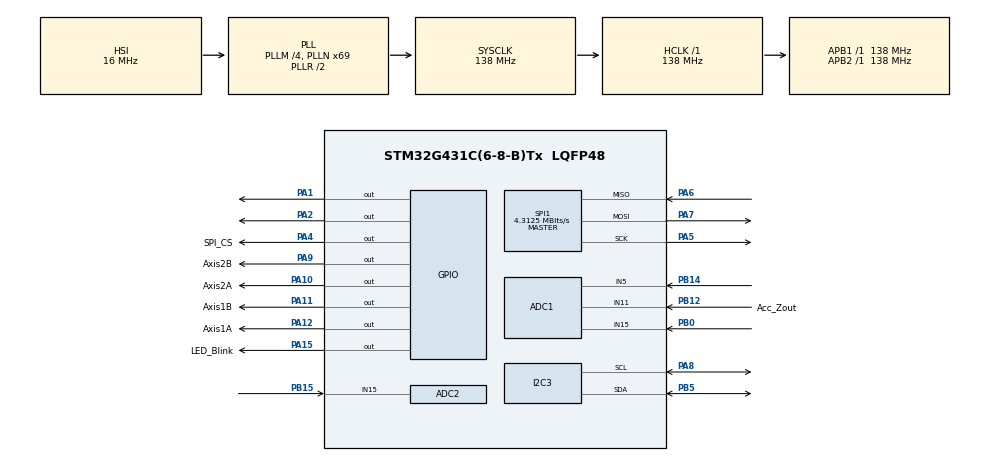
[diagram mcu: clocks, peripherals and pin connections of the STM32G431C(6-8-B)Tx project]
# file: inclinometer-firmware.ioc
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ADC1.Channel-0\#ChannelRegularConversion=ADC_CHANNEL_5
ADC1.Channel-1\#ChannelRegularConversion=ADC_CHANNEL_11
ADC1.ClockPrescaler=ADC_CLOCK_ASYNC_DIV4
ADC1.ContinuousConvMode=ENABLE
ADC1.DMAContinuousRequests=ENABLE
ADC1.EOCSelection=ADC_EOC_SEQ_CONV
ADC1.NbrOfConversion=2
ADC1.NbrOfConversionFlag=1
ADC1.OffsetNumber-0\#ChannelRegularConversion=ADC_OFFSET_NONE
ADC1.OffsetNumber-1\#ChannelRegularConversion=ADC_OFFSET_NONE
ADC1.OversamplingMode=ENABLE
ADC1.OversamplingStopReset=ADC_REGOVERSAMPLING_RESUMED_MODE
ADC1.Rank-0\#ChannelRegularConversion=1
ADC1.Rank-1\#ChannelRegularConversion=2
ADC1.Ratio=ADC_OVERSAMPLING_RATIO_256
ADC1.RightBitShift=ADC_RIGHTBITSHIFT_4
ADC1.SamplingTime-0\#ChannelRegularConversion=ADC_SAMPLETIME_92CYCLES_5
ADC1.SamplingTime-1\#ChannelRegularConversion=ADC_SAMPLETIME_92CYCLES_5
ADC1.master=1
ADC2.Channel-1\#ChannelRegularConversion=ADC_CHANNEL_15
ADC2.ClockPrescaler=ADC_CLOCK_ASYNC_DIV4
ADC2.ContinuousConvMode=ENABLE
ADC2.DMAContinuousRequests=ENABLE
ADC2.EOCSelection=ADC_EOC_SINGLE_CONV
ADC2.NbrOfConversionFlag=1
ADC2.OffsetNumber-1\#ChannelRegularConversion=ADC_OFFSET_NONE
ADC2.OversamplingMode=ENABLE
ADC2.OversamplingStopReset=ADC_REGOVERSAMPLING_RESUMED_MODE
ADC2.Rank-1\#ChannelRegularConversion=1
ADC2.Ratio=ADC_OVERSAMPLING_RATIO_256
ADC2.RightBitShift=ADC_RIGHTBITSHIFT_4
ADC2.SamplingTime-1\#ChannelRegularConversion=ADC_SAMPLETIME_92CYCLES_5
Dma.ADC1.0.Direction=DMA_PERIPH_TO_MEMORY
Dma.ADC1.0.EventEnable=DISABLE
Dma.ADC1.0.Instance=DMA1_Channel1
Dma.ADC1.0.MemDataAlignment=DMA_MDATAALIGN_HALFWORD
Dma.ADC1.0.MemInc=DMA_MINC_ENABLE
Dma.ADC1.0.Mode=DMA_CIRCULAR
Dma.ADC1.0.PeriphDataAlignment=DMA_PDATAALIGN_HALFWORD
Dma.ADC1.0.PeriphInc=DMA_PINC_DISABLE
Dma.ADC1.0.Polarity=HAL_DMAMUX_REQ_GEN_RISING
Dma.ADC1.0.Priority=DMA_PRIORITY_MEDIUM
Dma.ADC1.0.RequestNumber=1
Dma.ADC1.0.SignalID=NONE
Dma.ADC1.0.SyncEnable=DISABLE
Dma.ADC1.0.SyncPolarity=HAL_DMAMUX_SYNC_NO_EVENT
Dma.ADC1.0.SyncRequestNumber=1
Dma.ADC1.0.SyncSignalID=NONE
Dma.ADC2.2.Direction=DMA_PERIPH_TO_MEMORY
Dma.ADC2.2.EventEnable=DISABLE
Dma.ADC2.2.Instance=DMA1_Channel3
Dma.ADC2.2.MemDataAlignment=DMA_MDATAALIGN_HALFWORD
Dma.ADC2.2.MemInc=DMA_MINC_ENABLE
Dma.ADC2.2.Mode=DMA_CIRCULAR
Dma.ADC2.2.PeriphDataAlignment=DMA_PDATAALIGN_HALFWORD
Dma.ADC2.2.PeriphInc=DMA_PINC_DISABLE
Dma.ADC2.2.Polarity=HAL_DMAMUX_REQ_GEN_RISING
Dma.ADC2.2.Priority=DMA_PRIORITY_MEDIUM
Dma.ADC2.2.RequestNumber=1
Dma.ADC2.2.SignalID=NONE
Dma.ADC2.2.SyncEnable=DISABLE
Dma.ADC2.2.SyncPolarity=HAL_DMAMUX_SYNC_NO_EVENT
Dma.ADC2.2.SyncRequestNumber=1
Dma.ADC2.2.SyncSignalID=NONE
Dma.Request0=ADC1
Dma.Request1=SPI1_RX
Dma.Request2=ADC2
Dma.SPI1_RX.1.Direction=DMA_PERIPH_TO_MEMORY
Dma.SPI1_RX.1.EventEnable=DISABLE
Dma.SPI1_RX.1.Instance=DMA1_Channel2
Dma.SPI1_RX.1.MemDataAlignment=DMA_MDATAALIGN_BYTE
Dma.SPI1_RX.1.MemInc=DMA_MINC_ENABLE
Dma.SPI1_RX.1.Mode=DMA_NORMAL
Dma.SPI1_RX.1.PeriphDataAlignment=DMA_PDATAALIGN_BYTE
Dma.SPI1_RX.1.PeriphInc=DMA_PINC_DISABLE
Dma.SPI1_RX.1.Polarity=HAL_DMAMUX_REQ_GEN_RISING
Dma.SPI1_RX.1.Priority=DMA_PRIORITY_MEDIUM
Dma.SPI1_RX.1.RequestNumber=1
Dma.SPI1_RX.1.SignalID=NONE
Dma.SPI1_RX.1.SyncEnable=DISABLE
Dma.SPI1_RX.1.SyncPolarity=HAL_DMAMUX_SYNC_NO_EVENT
Dma.SPI1_RX.1.SyncRequestNumber=1
Dma.SPI1_RX.1.SyncSignalID=NONE
I2C3.Timing=0x40916E9B
Mcu.Family=STM32G4
Mcu.Name=STM32G431C(6-8-B)Tx
Mcu.Package=LQFP48
NVIC.DMA1_Channel1_IRQn=true\:0\:0\:false\:false\:true\:false\:true\:true
NVIC.DMA1_Channel2_IRQn=true\:0\:0\:false\:false\:true\:false\:true\:true
NVIC.DMA1_Channel3_IRQn=true\:0\:0\:false\:false\:true\:false\:true\:true
NVIC.PriorityGroup=NVIC_PRIORITYGROUP_4
NVIC.TIM6_DAC_IRQn=true\:0\:0\:false\:false\:true\:true\:true\:true
NVIC.TIM7_IRQn=true\:0\:0\:false\:false\:true\:true\:true\:true
PA1.Signal=GPIO_Output
PA10.GPIO_Label=Axis2A
PA10.Signal=GPIO_Output
PA11.GPIO_Label=Axis1B
PA11.Signal=GPIO_Output
PA12.GPIO_Label=Axis1A
PA12.Signal=GPIO_Output
PA13.Mode=Serial_Wire
PA13.Signal=SYS_JTMS-SWDIO
PA14.Mode=Serial_Wire
PA14.Signal=SYS_JTCK-SWCLK
PA15.GPIO_Label=LED_Blink
PA15.Signal=GPIO_Output
PA2.Signal=GPIO_Output
PA4.GPIO_Label=SPI_CS
PA4.Signal=GPIO_Output
PA5.Mode=Full_Duplex_Master
PA5.Signal=SPI1_SCK
PA6.Mode=Full_Duplex_Master
PA6.Signal=SPI1_MISO
PA7.Mode=Full_Duplex_Master
PA7.Signal=SPI1_MOSI
PA8.Mode=I2C
PA8.Signal=I2C3_SCL
PA9.GPIO_Label=Axis2B
PA9.Signal=GPIO_Output
PB0.Mode=IN15-Single-Ended
PB0.Signal=ADC1_IN15
PB12.GPIO_Label=Acc_Zout
PB12.Mode=IN11-Single-Ended
PB12.Signal=ADC1_IN11
PB14.Mode=IN5-Single-Ended
PB14.Signal=ADC1_IN5
PB15.Mode=IN15-Single-Ended
PB15.Signal=ADC2_IN15
PB5.Mode=I2C
PB5.Signal=I2C3_SDA
ProjectManager.HeapSize=0x200
ProjectManager.StackSize=0x400
ProjectManager.TargetToolchain=STM32CubeIDE
RCC.ADC12Freq_Value=138000000
RCC.AHBFreq_Value=138000000
RCC.APB1Freq_Value=138000000
RCC.APB1TimFreq_Value=138000000
RCC.APB2Freq_Value=138000000
RCC.APB2TimFreq_Value=138000000
RCC.CortexFreq_Value=138000000
RCC.EXTERNAL_CLOCK_VALUE=12288000
RCC.HCLKFreq_Value=138000000
RCC.HSE_VALUE=8000000
RCC.HSI48_VALUE=48000000
RCC.HSI_VALUE=16000000
RCC.LSE_VALUE=32768
RCC.PLLM=RCC_PLLM_DIV4
RCC.PLLN=69
RCC.SYSCLKFreq_VALUE=138000000
RCC.SYSCLKSource=RCC_SYSCLKSOURCE_PLLCLK
RCC.USBFreq_Value=138000000
RCC.VCOOutputFreq_Value=276000000
SPI1.BaudRatePrescaler=SPI_BAUDRATEPRESCALER_32
SPI1.CalculateBaudRate=4.3125 MBits/s
SPI1.DataSize=SPI_DATASIZE_8BIT
SPI1.Direction=SPI_DIRECTION_2LINES
SPI1.Mode=SPI_MODE_MASTER
SPI1.NSSPMode=SPI_NSS_PULSE_DISABLE
SPI1.VirtualType=VM_MASTER
TIM6.PeriodNoDither=2874
TIM6.Prescaler=74
TIM7.PeriodNoDither=1999
TIM7.Prescaler=9
VP_SYS_VS_DBSignals.Mode=DisableDeadBatterySignals
VP_TIM6_VS_ClockSourceINT.Mode=Enable_Timer
VP_TIM7_VS_ClockSourceINT.Mode=Enable_Timer
board=custom

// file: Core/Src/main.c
/* USER CODE BEGIN Header */
/**
  ******************************************************************************
  * @file           : main.c
  * @brief          : Main program body — Kalman filter + quadrature output
  ******************************************************************************
  */
/* USER CODE END Header */
#include "main.h"

/* USER CODE BEGIN Includes */
#include "kalman.h"
#include "quadrature_output.h"
#include "stm32g4xx_it.h"
#include <math.h>
/* USER CODE END Includes */

/* USER CODE BEGIN PD */
#define CLOCK_SPEED 138000000.0f
/* USER CODE END PD */

ADC_HandleTypeDef hadc1;
ADC_HandleTypeDef hadc2;
DMA_HandleTypeDef hdma_adc1;
DMA_HandleTypeDef hdma_adc2;

I2C_HandleTypeDef hi2c3;

SPI_HandleTypeDef hspi1;
DMA_HandleTypeDef hdma_spi1_rx;

TIM_HandleTypeDef htim6;
TIM_HandleTypeDef htim7;

/* USER CODE BEGIN PV */
/* --- Accelerometer (ADC, DMA) --- */
static volatile uint16_t adc_buf[2] = {0};  /* [0]=Y (CH5/PB14), [1]=Z (CH11/PB12) */
static volatile uint16_t adc_x      = 0;    /* X  (CH15/PB15, ADC2) */
static volatile float    accel_x    = 0.0f;
static volatile float    accel_y    = 0.0f;
static volatile float    accel_z    = 0.0f;

/* Calibration: zero-g offset (16-bit counts) and sensitivity (counts/g)
 * Measured on hardware at 138 MHz, ADC_CLOCK_ASYNC_DIV4, 256x oversample >>4 */
#define ACCEL_X_ZERO_G  17286
#define ACCEL_X_SENS    3887.0f
#define ACCEL_Y_ZERO_G  17899
#define ACCEL_Y_SENS    3971.0f
#define ACCEL_Z_ZERO_G  17899
#define ACCEL_Z_SENS    3971.0f

/* --- Gyroscope (SPI, ICM-42688 or compatible) --- */
#define IMU_REG_PWR_MGMT_1   0x6B
#define IMU_REG_USER_CTRL    0x6A

#define IMU_REG_WHO_AM_I     0x75
#define IMU_WHO_AM_I_VAL     0xB5

#define IMU_REG_GYRO_XOUT_H  0x43

#define IMU_CS_PORT          GPIOA
#define IMU_CS_PIN           SPI_CS_Pin
#define IMU_CS_LOW()         HAL_GPIO_WritePin(IMU_CS_PORT, IMU_CS_PIN, GPIO_PIN_RESET)
#define IMU_CS_HIGH()        HAL_GPIO_WritePin(IMU_CS_PORT, IMU_CS_PIN, GPIO_PIN_SET)

static volatile uint8_t who_am_i = 0;

static volatile float   gyro_x   = 0.0f;
static volatile float   gyro_y   = 0.0f;
static volatile float   gyro_z   = 0.0f;

static uint8_t gyro_dma_buf[6];
static uint8_t gyro_addr = IMU_REG_GYRO_XOUT_H | 0x80;
static volatile bool gyro_dma_ready = false;

static volatile float log_dt_s;
static volatile float log_roll_s;
static volatile float log_pitch_s;
static volatile float log_gyro_x_s;
static volatile float log_gyro_y_s;
static volatile float log_gyro_z_s;
static volatile float log_accel_x_s;
static volatile float log_accel_y_s;
static volatile float log_accel_z_s;
static volatile int   log_axis1_a_s;
static volatile int   log_axis1_b_s;

/* --- I2C (to Arduino) --- */
#define ARDUINO_SLAVE_ADDR 0x48

typedef struct __attribute__((packed)) {
    uint8_t header;      // always 0xAA
    uint8_t counter;     // increments every packet
    int16_t pitch_x100;  // pitch in degrees * 100
    int16_t roll_x100;   // roll in degrees * 100
} imu_packet_t;

static uint8_t packet_counter = 0;

/* USER CODE END PV */

void SystemClock_Config(void);
static void MX_GPIO_Init(void);
static void MX_DMA_Init(void);
static void MX_ADC1_Init(void);
static void MX_SPI1_Init(void);
static void MX_ADC2_Init(void);
static void MX_TIM6_Init(void);
static void MX_TIM7_Init(void);
static void MX_I2C3_Init(void);
/* USER CODE BEGIN PFP */
static void     DWT_Init(void);
static float    ComputeKalmanDT(void);
static uint8_t  IMU_ReadReg(uint8_t reg);
static void     IMU_WriteReg(uint8_t reg, uint8_t data);
/* USER CODE END PFP */

/* USER CODE BEGIN 0 */

/* --- ADC conversion complete callback (called from DMA ISR) --- */
void HAL_ADC_ConvCpltCallback(ADC_HandleTypeDef *hadc)
{
    if (hadc->Instance == ADC1)
    {
        accel_y = ((float)adc_buf[0] - ACCEL_Y_ZERO_G) / ACCEL_Y_SENS;
        accel_z = ((float)adc_buf[1] - ACCEL_Z_ZERO_G) / ACCEL_Z_SENS;
    }
    else if (hadc->Instance == ADC2)
    {
        accel_x = ((float)adc_x - ACCEL_X_ZERO_G) / ACCEL_X_SENS;
    }
}

/* --- SPI gyroscope callback --- */
void HAL_SPI_RxCpltCallback(SPI_HandleTypeDef *hspi)
{
    if (hspi == &hspi1)
    {
        IMU_CS_HIGH();

        int16_t raw_x = (int16_t)((gyro_dma_buf[0] << 8) | gyro_dma_buf[1]);
        int16_t raw_y = (int16_t)((gyro_dma_buf[2] << 8) | gyro_dma_buf[3]);
        int16_t raw_z = (int16_t)((gyro_dma_buf[4] << 8) | gyro_dma_buf[5]);

        gyro_x = (float)raw_x / 131.0f * (M_PI / 180.0f);
        gyro_y = (float)raw_y / 131.0f * (M_PI / 180.0f);
        gyro_z = (float)raw_z / 131.0f * (M_PI / 180.0f);

        gyro_dma_ready = true;

        IMU_CS_LOW();
        HAL_SPI_Transmit(&hspi1, &gyro_addr, 1, HAL_MAX_DELAY);
        HAL_SPI_Receive_DMA(&hspi1, gyro_dma_buf, 6);
    }
}

/* --- SPI / IMU helpers --- */
static void IMU_WriteReg(uint8_t reg, uint8_t data)
{
    uint8_t tx[2] = { reg & 0x7F, data };
    IMU_CS_LOW();
    HAL_SPI_Transmit(&hspi1, tx, 2, HAL_MAX_DELAY);
    IMU_CS_HIGH();
}

static uint8_t IMU_ReadReg(uint8_t reg)
{
    uint8_t tx[2] = { reg | 0x80, 0x00 };
    uint8_t rx[2] = { 0x00, 0x00 };
    IMU_CS_LOW();
    HAL_SPI_TransmitReceive(&hspi1, tx, rx, 2, HAL_MAX_DELAY);
    IMU_CS_HIGH();
    return rx[1];
}

/* --- DWT cycle counter for precise dt --- */
static void DWT_Init(void)
{
    CoreDebug->DEMCR |= CoreDebug_DEMCR_TRCENA_Msk;
    DWT->CYCCNT = 0;
    DWT->CTRL  |= DWT_CTRL_CYCCNTENA_Msk;
}

static float ComputeKalmanDT(void)
{
    static uint32_t last_tick  = 0;
    static bool     initialized = false;
    uint32_t now = DWT->CYCCNT;
    if (!initialized) { last_tick = now; initialized = true; return 0.0f; }
    float dt = (float)(now - last_tick) / CLOCK_SPEED;
    last_tick = now;
    return dt;
}

/* USER CODE END 0 */

int main(void)
{

  /* MCU Configuration--------------------------------------------------------*/

  /* Reset of all peripherals, Initializes the Flash interface and the Systick. */
  HAL_Init();

  /* Configure the system clock */
  SystemClock_Config();

  /* USER CODE BEGIN SysInit */
  DWT_Init();
  /* USER CODE END SysInit */

  /* Initialize all configured peripherals */
  MX_GPIO_Init();
  MX_DMA_Init();
  MX_ADC1_Init();
  MX_SPI1_Init();
  MX_ADC2_Init();
  MX_TIM6_Init();
  MX_TIM7_Init();
  MX_I2C3_Init();
  /* USER CODE BEGIN 2 */

  /* Start timers (interrupt mode) */
  HAL_TIM_Base_Start_IT(&htim6);   /* 640  Hz — Kalman flag */
  HAL_TIM_Base_Start_IT(&htim7);   /* 6900 Hz — Quad flag   */

  /* Calibrate and start ADC DMA */
  HAL_ADCEx_Calibration_Start(&hadc1, ADC_SINGLE_ENDED);
  HAL_ADCEx_Calibration_Start(&hadc2, ADC_SINGLE_ENDED);
  HAL_ADC_Start_DMA(&hadc1, (uint32_t*)adc_buf, 2);
  HAL_ADC_Start_DMA(&hadc2, (uint32_t*)&adc_x,  1);

  /* IMU init */
  IMU_CS_HIGH();
  HAL_Delay(10);
  who_am_i = IMU_ReadReg(IMU_REG_WHO_AM_I);
  if (who_am_i == IMU_WHO_AM_I_VAL) {
      IMU_WriteReg(IMU_REG_PWR_MGMT_1, 0x01);   /* clock select: PLL */
      HAL_Delay(50);
      IMU_WriteReg(IMU_REG_USER_CTRL, 0x10);    /* disable I2C */

      IMU_CS_LOW(); // Start callback
      HAL_SPI_Transmit(&hspi1, &gyro_addr, 1, HAL_MAX_DELAY);
      HAL_SPI_Receive_DMA(&hspi1, gyro_dma_buf, 6);
  }

  /* Kalman filter structures */
  StateVector            state_vector            = StateVector_Construct();
  ErrorCovarianceMatrix  error_covariance_matrix = ErrorCovarianceMatrix_Construct();
  const ProcessNoiseMatrix     process_noise_matrix     = ProcessNoiseMatrix_Construct();
  const MeasurementNoiseMatrix measurement_noise_matrix = MeasurementNoiseMatrix_Construct();

  /* Quadrature output — 4096 CPR, 1 axis (pitch) */
  QuadratureOutput quad_pkg = QuadratureOutput_Construct(4096, 1);
  QuadratureOutput_Initialize(&quad_pkg, 0.0, 0.0);

  HAL_GPIO_TogglePin(GPIOA, LED_Blink_Pin);   /* signal init complete */

  /* USER CODE END 2 */

  /* Infinite loop */
  while (1)
  {

    /* USER CODE BEGIN 3 */

    /* ---- Kalman filter @ 640 Hz ---- */
    if (GetKalmanReady()) {
		/* Read gyroscope (already in rad/s, updated by DMA callback) */
//		GyroSample gyro_sample;
//		if (gyro_dma_ready) {
//			gyro_dma_ready = false;
//
//			gyro_sample.gx = gyro_x;
//			gyro_sample.gy = gyro_y;
//			gyro_sample.gz = gyro_z;
//		}
		GyroSample gyro_sample;
		gyro_sample.gx = gyro_x;
		gyro_sample.gy = gyro_y;
		gyro_sample.gz = gyro_z;

		/* Read accelerometer (already in g, updated by DMA callback) */
		AccelSample accel_sample;
		accel_sample.ax = accel_x;
		accel_sample.ay = accel_y;
		accel_sample.az = accel_z;

		float dt = ComputeKalmanDT();

		if (dt > 0.0f) {
			/* Run kalman filter */
			kalman_run(dt, &state_vector, &error_covariance_matrix, &gyro_sample, &accel_sample, &process_noise_matrix, &measurement_noise_matrix);

			/* Convert to deg */
			float pitch_deg = state_vector.vector[PITCH] * (180.0f / (float)M_PI);
			float roll_deg  = state_vector.vector[ROLL]  * (180.0f / (float)M_PI);

			/* Build packet */
			imu_packet_t packet;
			packet.header     = 0xAA;
			packet.counter    = packet_counter++;
			packet.pitch_x100 = (int16_t)(pitch_deg * 100.0f);
			packet.roll_x100  = (int16_t)(roll_deg  * 100.0f);

			/* Send to Arduino */
			HAL_I2C_Master_Transmit(&hi2c3, (ARDUINO_SLAVE_ADDR << 1), (uint8_t *)&packet, sizeof(packet), 10);

	      	log_dt_s = dt;

	      	log_roll_s = state_vector.vector[ROLL] * (180.0 / M_PI);
	      	log_pitch_s  = state_vector.vector[ROLL] * (180.0 / M_PI);

	      	log_gyro_x_s = gyro_sample.gx;
	      	log_gyro_y_s = gyro_sample.gy;
	      	log_gyro_z_s = gyro_sample.gz;

	      	log_accel_x_s = accel_sample.ax;
	      	log_accel_y_s = accel_sample.ay;
	      	log_accel_z_s = accel_sample.az;

	      	log_axis1_a_s = quad_pkg.axis1.channel_a;
	      	log_axis1_b_s = quad_pkg.axis1.channel_b;
		}
    }

    /* ---- Quadrature output @ ~6900 Hz ---- */
    if (GetQuadReady()) {
        /* Convert pitch (rad) to degrees for quadrature output */
        double pitch_deg = (double)state_vector.vector[PITCH] * (180.0 / M_PI);
        QuadratureOutput_Update(&quad_pkg, pitch_deg, 0.0);

        /* Drive GPIO pins from quadrature state */
        HAL_GPIO_WritePin(GPIOA, Axis1A_Pin, quad_pkg.axis1.channel_a ? GPIO_PIN_SET : GPIO_PIN_RESET);
        HAL_GPIO_WritePin(GPIOA, Axis1B_Pin, quad_pkg.axis1.channel_b ? GPIO_PIN_SET : GPIO_PIN_RESET);
    }
  }
  /* USER CODE END 3 */
}

void SystemClock_Config(void)
{
  RCC_OscInitTypeDef RCC_OscInitStruct = {0};
  RCC_ClkInitTypeDef RCC_ClkInitStruct = {0};

  /** Configure the main internal regulator output voltage
  */
  HAL_PWREx_ControlVoltageScaling(PWR_REGULATOR_VOLTAGE_SCALE1);

  /** Initializes the RCC Oscillators according to the specified parameters
  * in the RCC_OscInitTypeDef structure.
  */
  RCC_OscInitStruct.OscillatorType = RCC_OSCILLATORTYPE_HSI;
  RCC_OscInitStruct.HSIState = RCC_HSI_ON;
  RCC_OscInitStruct.HSICalibrationValue = RCC_HSICALIBRATION_DEFAULT;
  RCC_OscInitStruct.PLL.PLLState = RCC_PLL_ON;
  RCC_OscInitStruct.PLL.PLLSource = RCC_PLLSOURCE_HSI;
  RCC_OscInitStruct.PLL.PLLM = RCC_PLLM_DIV4;
  RCC_OscInitStruct.PLL.PLLN = 69;
  RCC_OscInitStruct.PLL.PLLP = RCC_PLLP_DIV2;
  RCC_OscInitStruct.PLL.PLLQ = RCC_PLLQ_DIV2;
  RCC_OscInitStruct.PLL.PLLR = RCC_PLLR_DIV2;
  if (HAL_RCC_OscConfig(&RCC_OscInitStruct) != HAL_OK)
  {
    Error_Handler();
  }

  /** Initializes the CPU, AHB and APB buses clocks
  */
  RCC_ClkInitStruct.ClockType = RCC_CLOCKTYPE_HCLK|RCC_CLOCKTYPE_SYSCLK
                              |RCC_CLOCKTYPE_PCLK1|RCC_CLOCKTYPE_PCLK2;
  RCC_ClkInitStruct.SYSCLKSource = RCC_SYSCLKSOURCE_PLLCLK;
  RCC_ClkInitStruct.AHBCLKDivider = RCC_SYSCLK_DIV1;
  RCC_ClkInitStruct.APB1CLKDivider = RCC_HCLK_DIV1;
  RCC_ClkInitStruct.APB2CLKDivider = RCC_HCLK_DIV1;

  if (HAL_RCC_ClockConfig(&RCC_ClkInitStruct, FLASH_LATENCY_4) != HAL_OK)
  {
    Error_Handler();
  }
}

static void MX_ADC1_Init(void)
{

  ADC_MultiModeTypeDef multimode = {0};
  ADC_ChannelConfTypeDef sConfig = {0};

  /** Common config
  */
  hadc1.Instance = ADC1;
  hadc1.Init.ClockPrescaler = ADC_CLOCK_ASYNC_DIV4;
  hadc1.Init.Resolution = ADC_RESOLUTION_12B;
  hadc1.Init.DataAlign = ADC_DATAALIGN_RIGHT;
  hadc1.Init.GainCompensation = 0;
  hadc1.Init.ScanConvMode = ADC_SCAN_ENABLE;
  hadc1.Init.EOCSelection = ADC_EOC_SEQ_CONV;
  hadc1.Init.LowPowerAutoWait = DISABLE;
  hadc1.Init.ContinuousConvMode = ENABLE;
  hadc1.Init.NbrOfConversion = 2;
  hadc1.Init.DiscontinuousConvMode = DISABLE;
  hadc1.Init.ExternalTrigConv = ADC_SOFTWARE_START;
  hadc1.Init.ExternalTrigConvEdge = ADC_EXTERNALTRIGCONVEDGE_NONE;
  hadc1.Init.DMAContinuousRequests = ENABLE;
  hadc1.Init.Overrun = ADC_OVR_DATA_PRESERVED;
  hadc1.Init.OversamplingMode = ENABLE;
  hadc1.Init.Oversampling.Ratio = ADC_OVERSAMPLING_RATIO_256;
  hadc1.Init.Oversampling.RightBitShift = ADC_RIGHTBITSHIFT_4;
  hadc1.Init.Oversampling.TriggeredMode = ADC_TRIGGEREDMODE_SINGLE_TRIGGER;
  hadc1.Init.Oversampling.OversamplingStopReset = ADC_REGOVERSAMPLING_RESUMED_MODE;
  if (HAL_ADC_Init(&hadc1) != HAL_OK)
  {
    Error_Handler();
  }

  /** Configure the ADC multi-mode
  */
  multimode.Mode = ADC_MODE_INDEPENDENT;
  if (HAL_ADCEx_MultiModeConfigChannel(&hadc1, &multimode) != HAL_OK)
  {
    Error_Handler();
  }

  /** Configure Regular Channel
  */
  sConfig.Channel = ADC_CHANNEL_5;
  sConfig.Rank = ADC_REGULAR_RANK_1;
  sConfig.SamplingTime = ADC_SAMPLETIME_92CYCLES_5;
  sConfig.SingleDiff = ADC_SINGLE_ENDED;
  sConfig.OffsetNumber = ADC_OFFSET_NONE;
  sConfig.Offset = 0;
  if (HAL_ADC_ConfigChannel(&hadc1, &sConfig) != HAL_OK)
  {
    Error_Handler();
  }

  /** Configure Regular Channel
  */
  sConfig.Channel = ADC_CHANNEL_11;
  sConfig.Rank = ADC_REGULAR_RANK_2;
  if (HAL_ADC_ConfigChannel(&hadc1, &sConfig) != HAL_OK)
  {
    Error_Handler();
  }

}

static void MX_ADC2_Init(void)
{

  ADC_ChannelConfTypeDef sConfig = {0};

  /** Common config
  */
  hadc2.Instance = ADC2;
  hadc2.Init.ClockPrescaler = ADC_CLOCK_ASYNC_DIV4;
  hadc2.Init.Resolution = ADC_RESOLUTION_12B;
  hadc2.Init.DataAlign = ADC_DATAALIGN_RIGHT;
  hadc2.Init.GainCompensation = 0;
  hadc2.Init.ScanConvMode = ADC_SCAN_DISABLE;
  hadc2.Init.EOCSelection = ADC_EOC_SINGLE_CONV;
  hadc2.Init.LowPowerAutoWait = DISABLE;
  hadc2.Init.ContinuousConvMode = ENABLE;
  hadc2.Init.NbrOfConversion = 1;
  hadc2.Init.DiscontinuousConvMode = DISABLE;
  hadc2.Init.ExternalTrigConv = ADC_SOFTWARE_START;
  hadc2.Init.ExternalTrigConvEdge = ADC_EXTERNALTRIGCONVEDGE_NONE;
  hadc2.Init.DMAContinuousRequests = ENABLE;
  hadc2.Init.Overrun = ADC_OVR_DATA_PRESERVED;
  hadc2.Init.OversamplingMode = ENABLE;
  hadc2.Init.Oversampling.Ratio = ADC_OVERSAMPLING_RATIO_256;
  hadc2.Init.Oversampling.RightBitShift = ADC_RIGHTBITSHIFT_4;
  hadc2.Init.Oversampling.TriggeredMode = ADC_TRIGGEREDMODE_SINGLE_TRIGGER;
  hadc2.Init.Oversampling.OversamplingStopReset = ADC_REGOVERSAMPLING_RESUMED_MODE;
  if (HAL_ADC_Init(&hadc2) != HAL_OK)
  {
    Error_Handler();
  }

  /** Configure Regular Channel
  */
  sConfig.Channel = ADC_CHANNEL_15;
  sConfig.Rank = ADC_REGULAR_RANK_1;
  sConfig.SamplingTime = ADC_SAMPLETIME_92CYCLES_5;
  sConfig.SingleDiff = ADC_SINGLE_ENDED;
  sConfig.OffsetNumber = ADC_OFFSET_NONE;
  sConfig.Offset = 0;
  if (HAL_ADC_ConfigChannel(&hadc2, &sConfig) != HAL_OK)
  {
    Error_Handler();
  }

}

static void MX_I2C3_Init(void)
{

  hi2c3.Instance = I2C3;
  hi2c3.Init.Timing = 0x40916E9B;
  hi2c3.Init.OwnAddress1 = 0;
  hi2c3.Init.AddressingMode = I2C_ADDRESSINGMODE_7BIT;
  hi2c3.Init.DualAddressMode = I2C_DUALADDRESS_DISABLE;
  hi2c3.Init.OwnAddress2 = 0;
  hi2c3.Init.OwnAddress2Masks = I2C_OA2_NOMASK;
  hi2c3.Init.GeneralCallMode = I2C_GENERALCALL_DISABLE;
  hi2c3.Init.NoStretchMode = I2C_NOSTRETCH_DISABLE;
  if (HAL_I2C_Init(&hi2c3) != HAL_OK)
  {
    Error_Handler();
  }

  /** Configure Analogue filter
  */
  if (HAL_I2CEx_ConfigAnalogFilter(&hi2c3, I2C_ANALOGFILTER_ENABLE) != HAL_OK)
  {
    Error_Handler();
  }

  /** Configure Digital filter
  */
  if (HAL_I2CEx_ConfigDigitalFilter(&hi2c3, 0) != HAL_OK)
  {
    Error_Handler();
  }

}

static void MX_SPI1_Init(void)
{

  /* SPI1 parameter configuration*/
  hspi1.Instance = SPI1;
  hspi1.Init.Mode = SPI_MODE_MASTER;
  hspi1.Init.Direction = SPI_DIRECTION_2LINES;
  hspi1.Init.DataSize = SPI_DATASIZE_8BIT;
  hspi1.Init.CLKPolarity = SPI_POLARITY_LOW;
  hspi1.Init.CLKPhase = SPI_PHASE_1EDGE;
  hspi1.Init.NSS = SPI_NSS_SOFT;
  hspi1.Init.BaudRatePrescaler = SPI_BAUDRATEPRESCALER_32;
  hspi1.Init.FirstBit = SPI_FIRSTBIT_MSB;
  hspi1.Init.TIMode = SPI_TIMODE_DISABLE;
  hspi1.Init.CRCCalculation = SPI_CRCCALCULATION_DISABLE;
  hspi1.Init.CRCPolynomial = 7;
  hspi1.Init.CRCLength = SPI_CRC_LENGTH_DATASIZE;
  hspi1.Init.NSSPMode = SPI_NSS_PULSE_DISABLE;
  if (HAL_SPI_Init(&hspi1) != HAL_OK)
  {
    Error_Handler();
  }

}

static void MX_TIM6_Init(void)
{

  TIM_MasterConfigTypeDef sMasterConfig = {0};

  htim6.Instance = TIM6;
  htim6.Init.Prescaler = 74;
  htim6.Init.CounterMode = TIM_COUNTERMODE_UP;
  htim6.Init.Period = 2874;
  htim6.Init.AutoReloadPreload = TIM_AUTORELOAD_PRELOAD_DISABLE;
  if (HAL_TIM_Base_Init(&htim6) != HAL_OK)
  {
    Error_Handler();
  }
  sMasterConfig.MasterOutputTrigger = TIM_TRGO_RESET;
  sMasterConfig.MasterSlaveMode = TIM_MASTERSLAVEMODE_DISABLE;
  if (HAL_TIMEx_MasterConfigSynchronization(&htim6, &sMasterConfig) != HAL_OK)
  {
    Error_Handler();
  }

}

static void MX_TIM7_Init(void)
{

  TIM_MasterConfigTypeDef sMasterConfig = {0};

  htim7.Instance = TIM7;
  htim7.Init.Prescaler = 9;
  htim7.Init.CounterMode = TIM_COUNTERMODE_UP;
  htim7.Init.Period = 1999;
  htim7.Init.AutoReloadPreload = TIM_AUTORELOAD_PRELOAD_DISABLE;
  if (HAL_TIM_Base_Init(&htim7) != HAL_OK)
  {
    Error_Handler();
  }
  sMasterConfig.MasterOutputTrigger = TIM_TRGO_RESET;
  sMasterConfig.MasterSlaveMode = TIM_MASTERSLAVEMODE_DISABLE;
  if (HAL_TIMEx_MasterConfigSynchronization(&htim7, &sMasterConfig) != HAL_OK)
  {
    Error_Handler();
  }

}

static void MX_DMA_Init(void)
{

  /* DMA controller clock enable */
  __HAL_RCC_DMAMUX1_CLK_ENABLE();
  __HAL_RCC_DMA1_CLK_ENABLE();

  /* DMA interrupt init */
  /* DMA1_Channel1_IRQn interrupt configuration */
  HAL_NVIC_SetPriority(DMA1_Channel1_IRQn, 0, 0);
  HAL_NVIC_EnableIRQ(DMA1_Channel1_IRQn);
  /* DMA1_Channel2_IRQn interrupt configuration */
  HAL_NVIC_SetPriority(DMA1_Channel2_IRQn, 0, 0);
  HAL_NVIC_EnableIRQ(DMA1_Channel2_IRQn);
  /* DMA1_Channel3_IRQn interrupt configuration */
  HAL_NVIC_SetPriority(DMA1_Channel3_IRQn, 0, 0);
  HAL_NVIC_EnableIRQ(DMA1_Channel3_IRQn);

}

static void MX_GPIO_Init(void)
{
  GPIO_InitTypeDef GPIO_InitStruct = {0};

  /* GPIO Ports Clock Enable */
  __HAL_RCC_GPIOA_CLK_ENABLE();
  __HAL_RCC_GPIOB_CLK_ENABLE();

  /*Configure GPIO pin Output Level */
  HAL_GPIO_WritePin(GPIOA, GPIO_PIN_1|GPIO_PIN_2|SPI_CS_Pin|Axis2B_Pin
                          |Axis2A_Pin|Axis1B_Pin|Axis1A_Pin|LED_Blink_Pin, GPIO_PIN_RESET);

  /*Configure GPIO pins : PA1 PA2 SPI_CS_Pin Axis2B_Pin
                           Axis2A_Pin Axis1B_Pin Axis1A_Pin LED_Blink_Pin */
  GPIO_InitStruct.Pin = GPIO_PIN_1|GPIO_PIN_2|SPI_CS_Pin|Axis2B_Pin
                          |Axis2A_Pin|Axis1B_Pin|Axis1A_Pin|LED_Blink_Pin;
  GPIO_InitStruct.Mode = GPIO_MODE_OUTPUT_PP;
  GPIO_InitStruct.Pull = GPIO_NOPULL;
  GPIO_InitStruct.Speed = GPIO_SPEED_FREQ_LOW;
  HAL_GPIO_Init(GPIOA, &GPIO_InitStruct);

  /* USER CODE BEGIN MX_GPIO_Init_2 */
  HAL_GPIO_WritePin(GPIOA, SPI_CS_Pin, GPIO_PIN_SET);  /* deselect IMU */
  /* USER CODE END MX_GPIO_Init_2 */
}

void Error_Handler(void)
{
  __disable_irq();
  while (1) {}
}
